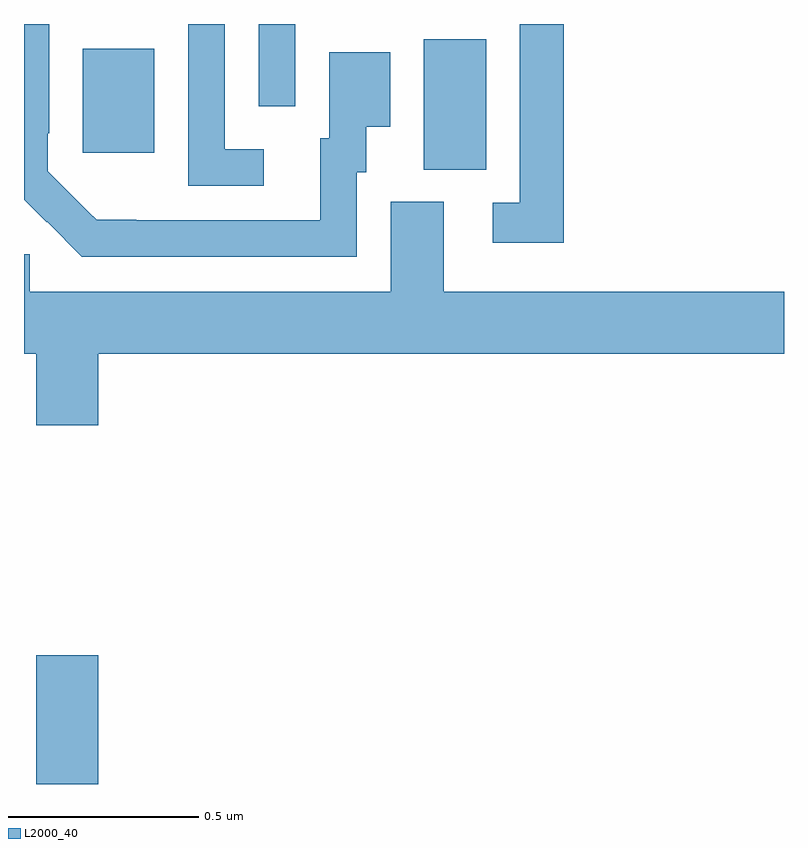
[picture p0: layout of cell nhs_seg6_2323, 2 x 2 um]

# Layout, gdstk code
import gdstk
lib = gdstk.Library(unit=1e-6, precision=1e-09)
def R(c, l, rs):  # rectangles x0, y0, x1, y1
    for r in rs: c.add(gdstk.rectangle(r[:2], r[2:], *l))
def P(c, l, *ps):  # polygons
    for p in ps: c.add(gdstk.Polygon(p, *l))
L2000_40 = (2000, 40)

nhs_seg6_2323 = lib.new_cell('nhs_seg6_2323')
R(nhs_seg6_2323, L2000_40, [(141.032,983.5,141.196,983.839), (142.052,985.117,142.216,985.46), (141.155,985.161,141.343,985.435), (141.618,985.284,141.714,985.5)])
P(nhs_seg6_2323, L2000_40, [(141.876,985.11),(141.901,985.11),(141.901,985.229),(141.964,985.229),(141.964,985.426),(141.803,985.426),(141.803,985.2),(141.779,985.2),(141.779,984.984),(141.295,984.984),(141.295,984.985),(141.192,984.985),(141.171,985.005),(141.063,985.113),(141.063,985.213),(141.066,985.213),(141.066,985.5),(141,985.5),(141,985.038),(141.06,984.978),(141.061,984.979),(141.152,984.888),(141.876,984.888)],
  [(142.421,985.5),(142.305,985.5),(142.305,985.029),(142.233,985.029),(142.233,984.924),(142.421,984.924)],
  [(141.631,985.17),(141.528,985.17),(141.528,985.5),(141.432,985.5),(141.432,985.074),(141.631,985.074)],
  [(141.196,984.632),(143,984.632),(143,984.796),(142.105,984.796),(142.105,985.032),(141.965,985.032),(141.965,984.796),(141.015,984.796),(141.015,984.894),(141,984.894),(141,984.632),(141.032,984.632),(141.032,984.444),(141.196,984.444)])

lib.write_gds('nhs_seg6_2323.gds')
